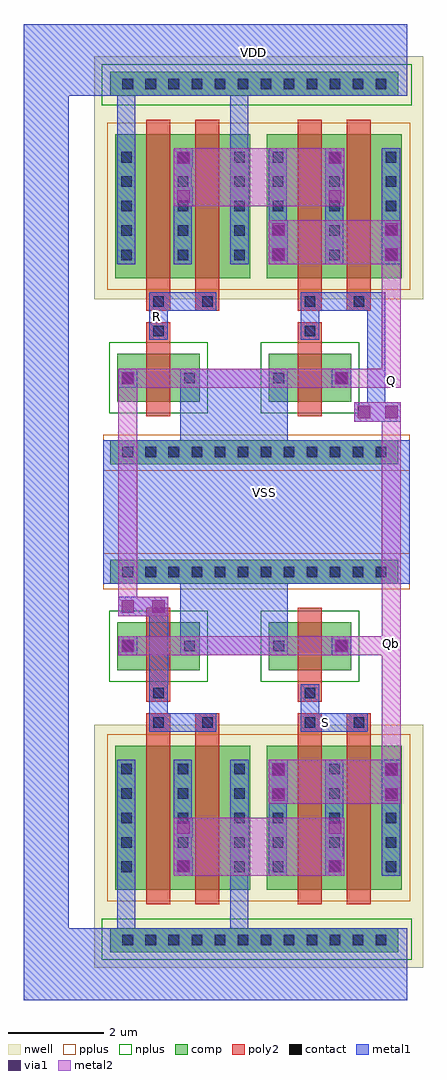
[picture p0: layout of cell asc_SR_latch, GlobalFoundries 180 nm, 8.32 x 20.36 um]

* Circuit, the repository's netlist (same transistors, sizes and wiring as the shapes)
** sch_path: /foss/designs/libs/core_analog/asc_SR_latch/asc_SR_latch.sch
.subckt asc_SR_latch R S Qb VDD VSS Q
*.PININFO VDD:B VSS:B S:B R:B Qb:B Q:B
x1 VDD VSS Q R Qb asc_NOR
x2 VDD VSS Qb Q S asc_NOR
.ends

* expanding   symbol:  libs/core_analog/asc_NOR/asc_NOR.sym # of pins=5
** sym_path: /foss/designs/libs/core_analog/asc_NOR/asc_NOR.sym
** sch_path: /foss/designs/libs/core_analog/asc_NOR/asc_NOR.sch
.subckt asc_NOR VDD VSS OUT A B
*.PININFO VDD:B VSS:B B:B A:B OUT:B
M1 OUT A VSS VSS nfet_03v3 L=0.5u W=1u nf=1 m=1
M2 OUT B VSS VSS nfet_03v3 L=0.5u W=1u nf=1 m=1
M3 OUT B net1 VDD pfet_03v3 L=0.5u W=6u nf=2 m=1
M4 net1 A VDD VDD pfet_03v3 L=0.5u W=6u nf=2 m=1
.ends

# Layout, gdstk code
from math import pi, radians
import gdstk
lib = gdstk.Library(unit=1e-6, precision=5e-09)
def R(c, l, rs):  # rectangles x0, y0, x1, y1
    for r in rs: c.add(gdstk.rectangle(r[:2], r[2:], *l))
def A(c, l, x, y, w, h, nx, ny, dx, dy):  # array of equal rectangles
    R(c, l, [(x+i*dx, y+j*dy, x+i*dx+w, y+j*dy+h) for i in range(nx) for j in range(ny)])
nwell = (21, 0)
comp = (22, 0)
poly2 = (30, 0)
pplus = (31, 0)
nplus = (32, 0)
contact = (33, 0)
metal1 = (34, 0)
via1 = (35, 0)
metal2 = (36, 0)

via_dev = lib.new_cell('via_dev')
R(via_dev, metal1, [(0,0,0.4,0.4)])
R(via_dev, via1, [(0.07,0.07,0.33,0.33)])
R(via_dev, metal2, [(0,0,0.4,0.4)])

via_dev_1 = lib.new_cell('via_dev$1')
R(via_dev_1, metal1, [(0,0,0.4,0.4)])
R(via_dev_1, via1, [(0.07,0.07,0.33,0.33)])
R(via_dev_1, metal2, [(0,0,0.4,0.4)])

via_dev_2 = lib.new_cell('via_dev$2')
R(via_dev_2, comp, [(0,0,6,0.5)])
A(via_dev_2, contact, 0.25, 0.14, 0.22, 0.22, 12, 1, 0.48, 0)
R(via_dev_2, metal1, [(0,0,6,0.5)])

pfet = lib.new_cell('pfet')
R(pfet, nwell, [(-0.9,-0.44,2.8,3.44)])
R(pfet, comp, [(-0.46,0,0,3), (0,0,1.9,3), (1.9,0,2.36,3)])
R(pfet, poly2, [(0.19,-0.68,0.69,-0.3), (1.21,-0.68,1.71,-0.3), (0.19,-0.3,0.69,3.3), (1.21,-0.3,1.71,3.3)])
R(pfet, pplus, [(-0.63,-0.24,2.53,3.24)])
A(pfet, contact, -0.34, 0.37, 0.22, 0.22, 3, 5, 1.18, 0.51)
R(pfet, contact, [(0.33,-0.6,0.55,-0.38), (1.35,-0.6,1.57,-0.38)])
A(pfet, metal1, -0.42, 0.29, 0.38, 2.42, 3, 1, 1.18, 0)
R(pfet, metal1, [(0.25,-0.68,0.63,-0.3), (1.27,-0.68,1.65,-0.3)])

nfet = lib.new_cell('nfet')
R(nfet, comp, [(-0.42,0,0,1), (0,0,0.88,1), (0.88,0,1.3,1)])
R(nfet, poly2, [(0.19,-0.3,0.69,1.3), (0.19,1.3,0.69,1.66)])
R(nfet, nplus, [(-0.59,-0.24,1.47,1.24)])
R(nfet, contact, [(-0.32,0.39,-0.1,0.61), (0.98,0.39,1.2,0.61), (0.33,1.37,0.55,1.59)])
R(nfet, metal1, [(-0.4,0.31,-0.02,0.69), (0.9,0.31,1.28,0.69), (0.25,1.29,0.63,1.67)])

via_dev_3 = lib.new_cell('via_dev$3')

via_dev_4 = lib.new_cell('via_dev$4')
R(via_dev_4, metal1, [(0,0,0.4,0.4)])
R(via_dev_4, via1, [(0.07,0.07,0.33,0.33)])
R(via_dev_4, metal2, [(0,0,0.4,0.4)])

asc_sr_latch = lib.new_cell('asc_SR_latch')
R(asc_sr_latch, nwell, [(1.605,-12.945,8.465,-11.76), (4.285,-11.76,5.705,-7.88), (4.285,1,5.705,4.88), (1.605,4.88,8.465,6.065)])
R(asc_sr_latch, nplus, [(1.76,-12.785,8.23,-11.92), (1.76,5.04,8.23,5.905)])
R(asc_sr_latch, metal1, [(0.14,-13.62,1.795,-12.12), (0.14,-13.62,1.07,6.74), (1.795,-13.62,8.135,-12.12), (1.795,-12.62,1.945,-12.12), (2.085,-12.62,2.465,-8.61), (4.44,-12.62,4.82,-8.61), (7.945,-12.62,8.135,-12.12), (5.625,-9.13,5.645,-9.01), (7.985,-9.13,8.005,-9.01), (2.755,-8.02,3.135,-7.03), (2.755,-8.02,4.155,-7.64), (5.915,-8.02,6.295,-7.03), (5.915,-8.02,7.315,-7.64), (2.755,-7.03,3.145,-5.21), (3.405,-6.43,5.645,-4.94), (2.105,-5.61,3.145,-5.21), (1.795,-4.94,1.945,-4.44), (1.795,-4.94,8.19,-3.44), (7.945,-4.94,8.19,-4.44), (1.795,-3.44,8.19,-1.94), (1.795,-2.44,1.945,-1.94), (7.945,-2.44,8.19,-1.94), (3.405,-1.94,5.645,-0.45), (7.3,-1.555,7.68,1.14), (7.435,-1.555,7.605,-1.155), (2.755,0.15,3.135,1.14), (5.915,0.15,6.295,1.14), (2.755,0.76,4.155,1.14), (5.915,0.76,7.315,1.14), (2.085,1.73,2.465,5.74), (4.44,1.73,4.82,5.74), (5.625,2.13,5.645,2.25), (7.985,2.13,8.005,2.25), (0.14,5.24,1.795,6.74), (1.795,5.24,1.945,5.74), (1.795,5.24,8.135,6.74), (7.945,5.24,8.135,5.74)])
R(asc_sr_latch, metal2, [(3.265,-11.03,3.665,-9.82), (3.265,-11.03,6.825,-9.82), (6.425,-11.03,6.825,-9.82), (5.245,-9.53,8.005,-8.61), (7.605,-9.47,8.005,-6.03), (7.605,-9.45,8.005,-8.61), (2.105,-6.43,6.965,-6.03), (6.565,-6.43,8.005,-6.03), (7.605,-6.03,8.005,-1.155), (2.105,-5.61,3.145,-5.21), (2.105,-5.5,2.505,-0.85), (7.035,-1.555,8.005,-1.155), (2.105,-0.85,6.965,-0.45), (6.565,-0.85,8.005,-0.45), (7.605,-0.85,8.005,2.59), (5.245,1.73,8.005,2.65), (7.605,1.73,8.005,2.57), (3.265,2.94,3.665,4.15), (3.265,2.94,6.825,4.15), (6.425,2.94,6.825,4.15)])
asc_sr_latch.add(gdstk.FlexPath([(1.795,-2.205),(8.19,-2.205)], 0.75, ends="flush", simple_path=True, layer=31, datatype=0))  # pplus
asc_sr_latch.add(gdstk.FlexPath([(1.795,-4.675),(8.19,-4.675)], 0.75, ends="flush", simple_path=True, layer=31, datatype=0))  # pplus
asc_sr_latch.add(gdstk.Reference(via_dev, (6.425,-10.63), x_reflection=True))
asc_sr_latch.add(gdstk.Reference(via_dev, (6.425,3.75)))
asc_sr_latch.add(gdstk.Reference(via_dev, (6.425,2.94)))
asc_sr_latch.add(gdstk.Reference(via_dev_1, (2.105,-0.85)))
asc_sr_latch.add(gdstk.Reference(via_dev_1, (6.565,-0.85)))
asc_sr_latch.add(gdstk.Reference(via_dev_1, (3.265,3.75)))
asc_sr_latch.add(gdstk.Reference(via_dev_2, (1.945,5.24)))
asc_sr_latch.add(gdstk.Reference(via_dev_2, (1.945,-2.44)))
asc_sr_latch.add(gdstk.Reference(pfet, (5.665,1.44)))
asc_sr_latch.add(gdstk.Reference(via_dev_1, (3.265,2.94)))
asc_sr_latch.add(gdstk.Reference(via_dev_1, (5.245,2.25)))
asc_sr_latch.add(gdstk.Reference(via_dev_1, (5.245,1.73)))
asc_sr_latch.add(gdstk.Reference(nfet, (2.505,-1.14)))
asc_sr_latch.add(gdstk.Reference(via_dev_3, (1.145,-3.03), rotation=pi/2))
asc_sr_latch.add(gdstk.Reference(nfet, (5.665,-1.14)))
asc_sr_latch.add(gdstk.Reference(pfet, (2.505,1.44)))
asc_sr_latch.add(gdstk.Reference(via_dev_1, (7.605,2.25)))
asc_sr_latch.add(gdstk.Reference(via_dev_1, (7.605,1.73)))
asc_sr_latch.add(gdstk.Reference(via_dev, (6.425,-9.82), x_reflection=True))
asc_sr_latch.add(gdstk.Reference(via_dev_1, (2.105,-6.03), x_reflection=True))
asc_sr_latch.add(gdstk.Reference(via_dev_1, (6.565,-6.03), x_reflection=True))
asc_sr_latch.add(gdstk.Reference(via_dev_1, (3.265,-10.63), x_reflection=True))
asc_sr_latch.add(gdstk.Reference(via_dev_2, (1.945,-12.12), x_reflection=True))
asc_sr_latch.add(gdstk.Reference(via_dev_2, (1.945,-4.44), x_reflection=True))
asc_sr_latch.add(gdstk.Reference(pfet, (5.665,-8.32), x_reflection=True))
asc_sr_latch.add(gdstk.Reference(via_dev_1, (3.265,-9.82), x_reflection=True))
asc_sr_latch.add(gdstk.Reference(via_dev_1, (5.245,-9.13), x_reflection=True))
asc_sr_latch.add(gdstk.Reference(via_dev_1, (5.245,-8.61), x_reflection=True))
asc_sr_latch.add(gdstk.Reference(nfet, (2.505,-5.74), x_reflection=True))
asc_sr_latch.add(gdstk.Reference(via_dev_3, (1.145,-3.85), rotation=3*pi/2, x_reflection=True))
asc_sr_latch.add(gdstk.Reference(nfet, (5.665,-5.74), x_reflection=True))
asc_sr_latch.add(gdstk.Reference(pfet, (2.505,-8.32), x_reflection=True))
asc_sr_latch.add(gdstk.Reference(via_dev_1, (7.605,-9.13), x_reflection=True))
asc_sr_latch.add(gdstk.Reference(via_dev_1, (7.605,-8.61), x_reflection=True))
asc_sr_latch.add(gdstk.Reference(via_dev_4, (7.605,-1.555)))
asc_sr_latch.add(gdstk.Reference(via_dev_4, (7.035,-1.555)))
asc_sr_latch.add(gdstk.Reference(via_dev_4, (2.105,-5.61)))
asc_sr_latch.add(gdstk.Reference(via_dev_4, (2.745,-5.61)))
asc_sr_latch.add(gdstk.Label('VDD', (4.925,6.15), layer=34, texttype=10))
asc_sr_latch.add(gdstk.Label('VSS', (5.15,-3.035), layer=34, texttype=10))
asc_sr_latch.add(gdstk.Label('S', (6.43,-7.825), layer=34, texttype=10))
asc_sr_latch.add(gdstk.Label('R', (2.905,0.645), layer=34, texttype=10))
asc_sr_latch.add(gdstk.Label('Q', (7.8,-0.695), layer=36, texttype=10))
asc_sr_latch.add(gdstk.Label('Qb', (7.8,-6.185), layer=36, texttype=10))

lib.write_gds('asc_SR_latch.gds')
